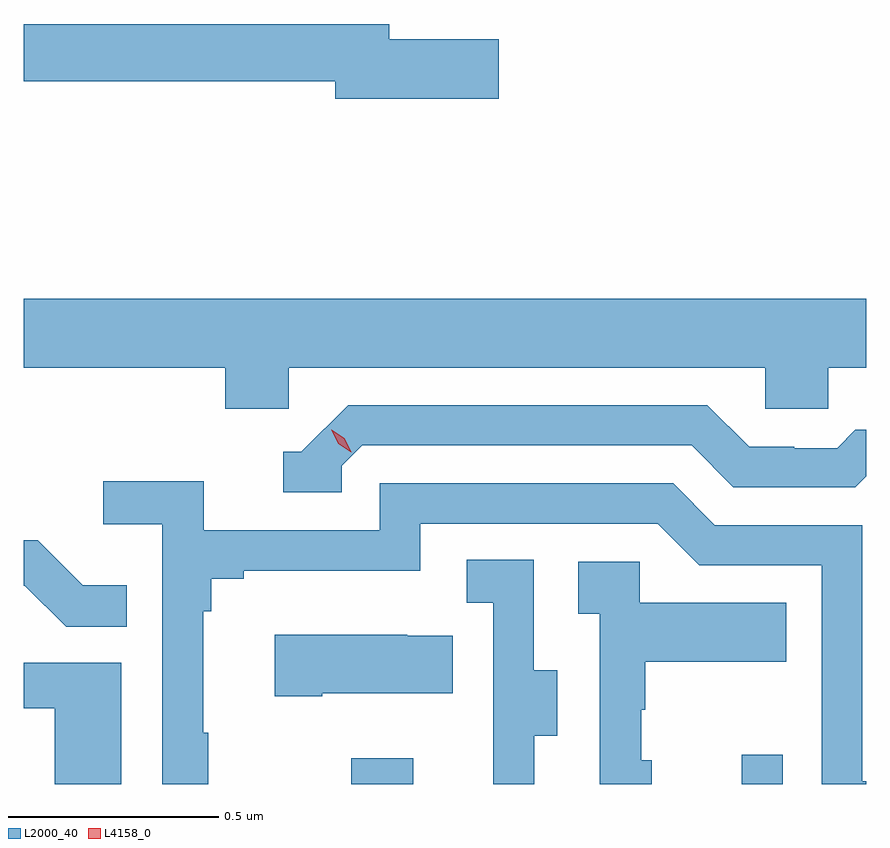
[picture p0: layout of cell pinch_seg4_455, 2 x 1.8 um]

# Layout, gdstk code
import gdstk
lib = gdstk.Library(unit=1e-6, precision=1e-09)
def R(c, l, rs):  # rectangles x0, y0, x1, y1
    for r in rs: c.add(gdstk.rectangle(r[:2], r[2:], *l))
def P(c, l, *ps):  # polygons
    for p in ps: c.add(gdstk.Polygon(p, *l))
L2000_40 = (2000, 40)
L4158_0 = (4158, 0)

pinch_seg4_455 = lib.new_cell('pinch_seg4_455')
R(pinch_seg4_455, L2000_40, [(897.982,785.175,898.129,785.236), (898.91,785.175,899.007,785.245)])
P(pinch_seg4_455, L2000_40, [(898.333,786.944),(898.072,786.944),(898.072,786.98),(897.205,786.98),(897.205,786.844),(897.944,786.844),(897.944,786.802),(898.333,786.802)],
  [(897.834,786.164),(898.965,786.164),(898.965,786.066),(899.115,786.066),(899.115,786.164),(899.205,786.164),(899.205,786.328),(897.205,786.328),(897.205,786.164),(897.683,786.164),(897.683,786.066),(897.834,786.066)],
  [(897.96,785.931),(898.008,785.979),(898.791,785.979),(898.89,785.88),(899.179,785.88),(899.205,785.906),(899.205,786.016),(899.179,786.016),(899.137,785.973),(899.034,785.973),(899.034,785.976),(898.927,785.976),(898.828,786.075),(897.975,786.075),(897.864,785.964),(897.821,785.964),(897.821,785.868),(897.96,785.868)],
  [(897.643,785.297),(897.631,785.297),(897.631,785.585),(897.65,785.585),(897.65,785.662),(897.727,785.662),(897.727,785.681),(898.146,785.681),(898.146,785.793),(898.71,785.793),(898.809,785.694),(899.1,785.694),(899.1,785.175),(899.205,785.175),(899.205,785.181),(899.196,785.181),(899.196,785.79),(898.846,785.79),(898.747,785.889),(898.05,785.889),(898.05,785.778),(897.632,785.778),(897.632,785.894),(897.393,785.894),(897.393,785.792),(897.534,785.792),(897.534,785.175),(897.643,785.175)],
  [(897.449,785.647),(897.345,785.647),(897.238,785.754),(897.205,785.754),(897.205,785.646),(897.207,785.646),(897.305,785.548),(897.449,785.548)],
  [(898.417,785.29),(898.471,785.29),(898.471,785.445),(898.416,785.445),(898.416,785.708),(898.257,785.708),(898.257,785.605),(898.32,785.605),(898.32,785.301),(898.319,785.301),(898.319,785.175),(898.417,785.175)],
  [(898.696,785.232),(898.671,785.232),(898.671,785.351),(898.681,785.351),(898.681,785.465),(899.015,785.465),(899.015,785.605),(898.668,785.605),(898.668,785.703),(898.521,785.703),(898.521,785.579),(898.572,785.579),(898.572,785.175),(898.696,785.175)],
  [(897.913,785.39),(898.223,785.39),(898.223,785.527),(898.115,785.527),(898.115,785.53),(897.801,785.53),(897.801,785.383),(897.913,785.383)],
  [(897.436,785.463),(897.205,785.463),(897.205,785.355),(897.278,785.355),(897.278,785.175),(897.436,785.175)])
P(pinch_seg4_455, L4158_0, [(897.982,785.963),(897.951,785.983),(897.935,786.016),(897.935,786.016),(897.936,786.016),(897.966,785.996),(897.982,785.964),(897.982,785.963)])

lib.write_gds('pinch_seg4_455.gds')
